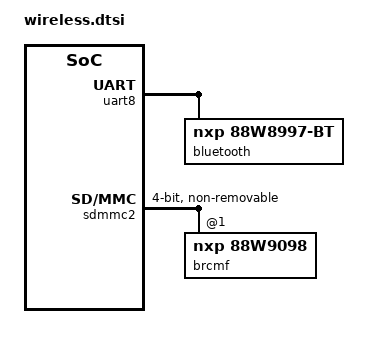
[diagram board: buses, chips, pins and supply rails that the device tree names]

&uart8 { /* BT */
	pinctrl-names = "default";
	pinctrl-0 = <&uart8m0_xfer &uart8m0_ctsn &uart8m0_rtsn>;
	status = "okay";

	bluetooth {
		compatible = "nxp,88w8997-bt";
	};
};

&sdmmc2 {
	/* WiFi & BT combo module WiF-Fi 88W9098 */
	#address-cells = <1>;
	#size-cells = <0>;
	bus-width = <4>;
	clock-frequency = <150000000>;
	cap-sdio-irq;
	cap-sd-highspeed;
	keep-power-in-suspend;
	non-removable;
	pinctrl-names = "default";
	pinctrl-0 = <&sdmmc2m0_bus4 &sdmmc2m0_clk &sdmmc2m0_cmd>;
	sd-uhs-sdr104;
	status = "okay";

	// DD8
	brcmf: wifi@0 {
		compatible = "nxp,88w9098";
		reg = <1>;
	};
};
